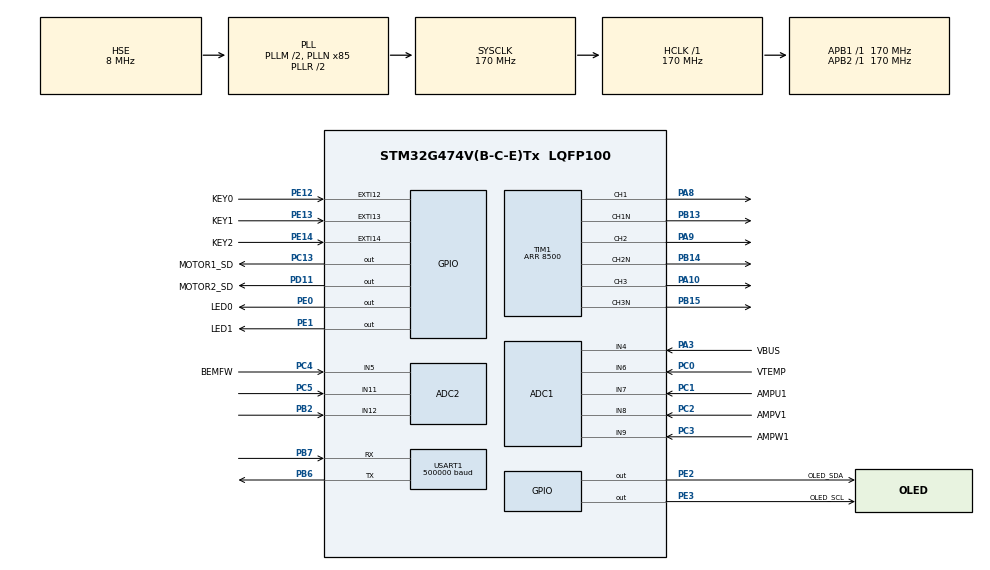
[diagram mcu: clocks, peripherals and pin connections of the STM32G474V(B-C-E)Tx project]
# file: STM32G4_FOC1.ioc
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ADC1.Channel-0\#ChannelRegularConversion=ADC_CHANNEL_6
ADC1.EnableAnalogWatchDog1=false
ADC1.EnableInjectedConversion=ENABLE
ADC1.EnableInjectedOversampling=DISABLE
ADC1.ExternalTrigInjecConv=ADC_EXTERNALTRIGINJEC_T1_CC4
ADC1.InjNumberOfConversion=4
ADC1.InjectedChannel-1\#ChannelInjectedConversion=ADC_CHANNEL_7
ADC1.InjectedChannel-3\#ChannelInjectedConversion=ADC_CHANNEL_8
ADC1.InjectedChannel-6\#ChannelInjectedConversion=ADC_CHANNEL_9
ADC1.InjectedChannel-7\#ChannelInjectedConversion=ADC_CHANNEL_4
ADC1.InjectedOffsetNumber-1\#ChannelInjectedConversion=ADC_OFFSET_NONE
ADC1.InjectedOffsetNumber-3\#ChannelInjectedConversion=ADC_OFFSET_NONE
ADC1.InjectedOffsetNumber-6\#ChannelInjectedConversion=ADC_OFFSET_NONE
ADC1.InjectedOffsetNumber-7\#ChannelInjectedConversion=ADC_OFFSET_NONE
ADC1.InjectedRank-1\#ChannelInjectedConversion=1
ADC1.InjectedRank-3\#ChannelInjectedConversion=2
ADC1.InjectedRank-6\#ChannelInjectedConversion=3
ADC1.InjectedRank-7\#ChannelInjectedConversion=4
ADC1.InjectedSamplingTime-1\#ChannelInjectedConversion=ADC_SAMPLETIME_2CYCLES_5
ADC1.InjectedSamplingTime-3\#ChannelInjectedConversion=ADC_SAMPLETIME_2CYCLES_5
ADC1.InjectedSamplingTime-6\#ChannelInjectedConversion=ADC_SAMPLETIME_2CYCLES_5
ADC1.InjectedSamplingTime-7\#ChannelInjectedConversion=ADC_SAMPLETIME_2CYCLES_5
ADC1.NbrOfConversion=1
ADC1.NbrOfConversionFlag=1
ADC1.OffsetNumber-0\#ChannelRegularConversion=ADC_OFFSET_NONE
ADC1.Rank-0\#ChannelRegularConversion=1
ADC1.Rank1_Channel=ADC_CHANNEL_7
ADC1.Rank2_Channel=ADC_CHANNEL_8
ADC1.Rank3_Channel=ADC_CHANNEL_9
ADC1.Rank4_Channel=ADC_CHANNEL_4
ADC1.SamplingTime-0\#ChannelRegularConversion=ADC_SAMPLETIME_24CYCLES_5
ADC1.injectedQueueMode=DISABLE
ADC1.master=1
ADC2.Channel-0\#ChannelRegularConversion=ADC_CHANNEL_5
ADC2.EnableInjectedConversion=DISABLE
ADC2.NbrOfConversionFlag=1
ADC2.OffsetNumber-0\#ChannelRegularConversion=ADC_OFFSET_NONE
ADC2.Rank-0\#ChannelRegularConversion=1
ADC2.SamplingTime-0\#ChannelRegularConversion=ADC_SAMPLETIME_2CYCLES_5
Dma.Request0=USART1_RX
Dma.USART1_RX.0.Direction=DMA_PERIPH_TO_MEMORY
Dma.USART1_RX.0.EventEnable=DISABLE
Dma.USART1_RX.0.Instance=DMA1_Channel5
Dma.USART1_RX.0.MemDataAlignment=DMA_MDATAALIGN_BYTE
Dma.USART1_RX.0.MemInc=DMA_MINC_ENABLE
Dma.USART1_RX.0.Mode=DMA_NORMAL
Dma.USART1_RX.0.PeriphDataAlignment=DMA_PDATAALIGN_BYTE
Dma.USART1_RX.0.PeriphInc=DMA_PINC_DISABLE
Dma.USART1_RX.0.Polarity=HAL_DMAMUX_REQ_GEN_RISING
Dma.USART1_RX.0.Priority=DMA_PRIORITY_LOW
Dma.USART1_RX.0.RequestNumber=1
Dma.USART1_RX.0.SignalID=NONE
Dma.USART1_RX.0.SyncEnable=DISABLE
Dma.USART1_RX.0.SyncPolarity=HAL_DMAMUX_SYNC_NO_EVENT
Dma.USART1_RX.0.SyncRequestNumber=1
Dma.USART1_RX.0.SyncSignalID=NONE
Mcu.Family=STM32G4
Mcu.Name=STM32G474V(B-C-E)Tx
Mcu.Package=LQFP100
NVIC.ADC1_2_IRQn=true\:0\:2\:true\:false\:true\:true\:true\:true
NVIC.DMA1_Channel5_IRQn=true\:0\:0\:false\:false\:true\:false\:true\:true
NVIC.EXTI15_10_IRQn=true\:3\:1\:true\:false\:true\:true\:true\:true
NVIC.PriorityGroup=NVIC_PRIORITYGROUP_2
NVIC.TIM6_DAC_IRQn=true\:3\:2\:true\:false\:true\:true\:true\:true
NVIC.USART1_IRQn=true\:0\:1\:true\:false\:true\:true\:true\:true
PA10.GPIO_Speed=GPIO_SPEED_FREQ_VERY_HIGH
PA10.Signal=S_TIM1_CH3
PA13.Mode=Serial_Wire
PA13.Signal=SYS_JTMS-SWDIO
PA14.Mode=Serial_Wire
PA14.Signal=SYS_JTCK-SWCLK
PA3.GPIO_Label=VBUS
PA3.Mode=IN4-Single-Ended
PA3.Signal=ADC1_IN4
PA8.GPIO_Speed=GPIO_SPEED_FREQ_VERY_HIGH
PA8.Signal=S_TIM1_CH1
PA9.GPIO_Speed=GPIO_SPEED_FREQ_VERY_HIGH
PA9.Signal=S_TIM1_CH2
PB13.GPIO_Speed=GPIO_SPEED_FREQ_VERY_HIGH
PB13.Mode=PWM Generation1 CH1 CH1N
PB13.Signal=TIM1_CH1N
PB14.GPIO_Speed=GPIO_SPEED_FREQ_VERY_HIGH
PB14.Mode=PWM Generation2 CH2 CH2N
PB14.Signal=TIM1_CH2N
PB15.GPIO_Speed=GPIO_SPEED_FREQ_VERY_HIGH
PB15.Mode=PWM Generation3 CH3 CH3N
PB15.Signal=TIM1_CH3N
PB2.Mode=IN11-Differential
PB2.Signal=ADC2_IN12
PB6.GPIO_Speed=GPIO_SPEED_FREQ_VERY_HIGH
PB6.Mode=Asynchronous
PB6.Signal=USART1_TX
PB7.GPIO_Speed=GPIO_SPEED_FREQ_VERY_HIGH
PB7.Mode=Asynchronous
PB7.Signal=USART1_RX
PC0.GPIO_Label=VTEMP
PC0.Mode=IN6-Single-Ended
PC0.Signal=ADC1_IN6
PC1.GPIO_Label=AMPU1
PC1.Mode=IN7-Single-Ended
PC1.Signal=ADC1_IN7
PC13.GPIO_Label=MOTOR1_SD
PC13.Signal=GPIO_Output
PC2.GPIO_Label=AMPV1
PC2.Mode=IN8-Single-Ended
PC2.Signal=ADC1_IN8
PC3.GPIO_Label=AMPW1
PC3.Mode=IN9-Single-Ended
PC3.Signal=ADC1_IN9
PC4.GPIO_Label=BEMFW
PC4.Mode=IN5-Single-Ended
PC4.Signal=ADC2_IN5
PC5.Mode=IN11-Differential
PC5.Signal=ADC2_IN11
PD11.GPIO_Label=MOTOR2_SD
PD11.GPIO_Speed=GPIO_SPEED_FREQ_VERY_HIGH
PD11.Signal=GPIO_Output
PE0.GPIO_Label=LED0
PE0.GPIO_ModeDefaultOutputPP=GPIO_MODE_OUTPUT_PP
PE0.GPIO_Speed=GPIO_SPEED_FREQ_VERY_HIGH
PE0.PinState=GPIO_PIN_SET
PE0.Signal=GPIO_Output
PE1.GPIO_Label=LED1
PE1.GPIO_Speed=GPIO_SPEED_FREQ_VERY_HIGH
PE1.PinState=GPIO_PIN_SET
PE1.Signal=GPIO_Output
PE12.GPIO_Label=KEY0
PE12.GPIO_ModeDefaultEXTI=GPIO_MODE_IT_FALLING
PE12.GPIO_PuPd=GPIO_PULLUP
PE12.Signal=GPXTI12
PE13.GPIO_Label=KEY1
PE13.GPIO_ModeDefaultEXTI=GPIO_MODE_IT_FALLING
PE13.GPIO_PuPd=GPIO_PULLUP
PE13.Signal=GPXTI13
PE14.GPIO_Label=KEY2
PE14.GPIO_ModeDefaultEXTI=GPIO_MODE_IT_FALLING
PE14.GPIO_PuPd=GPIO_PULLUP
PE14.Signal=GPXTI14
PE2.GPIO_Label=OLED_SDA
PE2.GPIO_ModeDefaultOutputPP=GPIO_MODE_OUTPUT_OD
PE2.GPIO_PuPd=GPIO_NOPULL
PE2.GPIO_Speed=GPIO_SPEED_FREQ_VERY_HIGH
PE2.Signal=GPIO_Output
PE3.GPIO_Label=OLED_SCL
PE3.GPIO_Speed=GPIO_SPEED_FREQ_VERY_HIGH
PE3.Signal=GPIO_Output
PF0-OSC_IN.Mode=HSE-External-Oscillator
PF0-OSC_IN.Signal=RCC_OSC_IN
PF1-OSC_OUT.Mode=HSE-External-Oscillator
PF1-OSC_OUT.Signal=RCC_OSC_OUT
ProjectManager.HeapSize=0x200
ProjectManager.StackSize=0x400
ProjectManager.TargetToolchain=MDK-ARM V5.32
RCC.ADC12Freq_Value=170000000
RCC.ADC345Freq_Value=170000000
RCC.AHBFreq_Value=170000000
RCC.APB1Freq_Value=170000000
RCC.APB1TimFreq_Value=170000000
RCC.APB2Freq_Value=170000000
RCC.APB2TimFreq_Value=170000000
RCC.CortexFreq_Value=170000000
RCC.EXTERNAL_CLOCK_VALUE=12288000
RCC.HCLKFreq_Value=170000000
RCC.HSE_VALUE=8000000
RCC.HSI48_VALUE=48000000
RCC.HSI_VALUE=16000000
RCC.LSE_VALUE=32768
RCC.PLLM=RCC_PLLM_DIV2
RCC.PLLN=85
RCC.PLLSourceVirtual=RCC_PLLSOURCE_HSE
RCC.SYSCLKFreq_VALUE=170000000
RCC.SYSCLKSource=RCC_SYSCLKSOURCE_PLLCLK
RCC.USBFreq_Value=170000000
RCC.VCOOutputFreq_Value=340000000
SH.S_TIM1_CH1.0=TIM1_CH1,PWM Generation1 CH1 CH1N
SH.S_TIM1_CH2.0=TIM1_CH2,PWM Generation2 CH2 CH2N
SH.S_TIM1_CH3.0=TIM1_CH3,PWM Generation3 CH3 CH3N
TIM1.AsymmetricalDeadTime=DISABLE
TIM1.AutoReloadPreload=TIM_AUTORELOAD_PRELOAD_ENABLE
TIM1.Channel-PWM\ Generation1\ CH1\ CH1N=TIM_CHANNEL_1
TIM1.Channel-PWM\ Generation2\ CH2\ CH2N=TIM_CHANNEL_2
TIM1.Channel-PWM\ Generation3\ CH3\ CH3N=TIM_CHANNEL_3
TIM1.Channel-PWM\ Generation4\ No\ Output=TIM_CHANNEL_4
TIM1.ClockDivision=TIM_CLOCKDIVISION_DIV2
TIM1.CounterMode=TIM_COUNTERMODE_CENTERALIGNED1
TIM1.DeadTime=120
TIM1.Dithering=Disable
TIM1.OC1Preload_PWM=DISABLE
TIM1.OC2Preload_PWM=DISABLE
TIM1.OC3Preload_PWM=DISABLE
TIM1.OC4Preload_PWM=ENABLE
TIM1.OCMode_PWM-PWM\ Generation4\ No\ Output=TIM_OCMODE_PWM1
TIM1.PeriodNoDither=8500
TIM1.PulseNoDither_4=8500-50
TIM1.RepetitionCounter=1
TIM1.TIM_MasterOutputTrigger=TIM_TRGO_OC4REF
TIM6.AutoReloadPreload=TIM_AUTORELOAD_PRELOAD_ENABLE
TIM6.PeriodNoDither=4250
TIM6.Prescaler=5-1
USART1.BaudRate=500000
USART1.VirtualMode-Asynchronous=VM_ASYNC
VP_SYS_VS_DBSignals.Mode=DisableDeadBatterySignals
VP_TIM1_VS_ClockSourceINT.Mode=Internal
VP_TIM1_VS_no_output4.Mode=PWM Generation4 No Output
VP_TIM6_VS_ClockSourceINT.Mode=Enable_Timer
board=custom

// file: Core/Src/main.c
/* USER CODE BEGIN Header */
/**
  ******************************************************************************
  * @file           : main.c
  * @brief          : Main program body
  ******************************************************************************
  * @attention
  *
  * Copyright (c) 2025 STMicroelectronics.
  * All rights reserved.
  *
  * This software is licensed under terms that can be found in the LICENSE file
  * in the root directory of this software component.
  * If no LICENSE file comes with this software, it is provided AS-IS.
  *
  ******************************************************************************
  */
/* USER CODE END Header */
#include "main.h"
#include "adc.h"
#include "dma.h"
#include "tim.h"
#include "usart.h"
#include "gpio.h"

/* USER CODE BEGIN PTD */
/**********************************

   tim1 互补PWM输出控制
	 ADC1采集  注入通道）电流 母线电压

		SVPWM控制

		电流环 闭环

中断优先级分配表    抢占优先级   子优先级
通信USART2                0         2
-----------------------
按键控制0                 3         1
按键控制1                 3         1
按键控制2                 3         1

-----------------------
ADC中断函数               0         1
-----------------------
TIME2编码器捕获中断       2         1
------------------------
TIME6低速任务             3         3
-----------------------
//功能按键
	   0 -- KEY0
	   1 -- KEY1
		 2 -- KEY2 启动 停止

 //电机参数：
    霍尔安装角度：120
		额定扭矩 ： 0.2 (N*M)
		极对数 ：8
		相数   ：3
		反电动势：4.3V
    Rs = 1.02R
		Ls = 0.59mH
		flux = 0.034182

*/
/* USER CODE END PTD */

void SystemClock_Config(void);

int main(void)
{
  /* USER CODE BEGIN 1 */
//   int date;
//	 uint8_t oled_buf[20];
  /* USER CODE END 1 */

  /* MCU Configuration--------------------------------------------------------*/

  /* Reset of all peripherals, Initializes the Flash interface and the Systick. */
  HAL_Init();

  /* Configure the system clock */
  SystemClock_Config();

  /* USER CODE BEGIN SysInit */
   sys_stm32_clock_init(85, 2, 2, 4, 8);       /* 设置时钟,170Mhz */
   delay_init(170);                            /* 延时初始化 */

  /* USER CODE END SysInit */

  /* Initialize all configured peripherals */
  MX_GPIO_Init();
  MX_DMA_Init();
  MX_TIM1_Init();
  MX_USART1_UART_Init();
  MX_ADC1_Init();
  MX_ADC2_Init();
  MX_TIM6_Init();
  /* USER CODE BEGIN 2 */

	//0.96寸OLED屏幕
	 I2C_Configuration();
	 OLED_Init();
	 OLED_CLS();//清屏
//	 headline();
  /* USER CODE END 2 */

  /* Infinite loop */
  /* USER CODE BEGIN WHILE */
	HAL_TIM_PWM_Start(&htim1,TIM_CHANNEL_1);
	HAL_TIM_PWM_Start(&htim1,TIM_CHANNEL_2);
	HAL_TIM_PWM_Start(&htim1,TIM_CHANNEL_3);
	HAL_TIM_PWM_Start(&htim1,TIM_CHANNEL_4);

	HAL_TIMEx_PWMN_Start(&htim1,TIM_CHANNEL_1);
	HAL_TIMEx_PWMN_Start(&htim1,TIM_CHANNEL_2);
	HAL_TIMEx_PWMN_Start(&htim1,TIM_CHANNEL_3);

	//开启ADC转换
    HAL_ADC_Start_IT(&hadc1);
		HAL_ADC_Start(&hadc1);
		//ADC校准
		HAL_ADCEx_Calibration_Start(&hadc1,ADC_SINGLE_ENDED);
		 // 启动ADC注入通道转换
    HAL_ADCEx_InjectedStart_IT(&hadc1);
    // 启动定时器6并使能中断
    HAL_TIM_Base_Start_IT(&htim6);
		//开启ADC偏置电压采集校准
    get_offset_flag=1;
		 // 重新启动 DMA 接收（循环模式可能无需，但非循环模式需重新启动）
	    HAL_UARTEx_ReceiveToIdle_DMA(&huart1,g_rx_buffer, USART_REC_LEN);
  while (1)
  {

	   LED0_TOGGLE();
		delay_ms(1000);
    /* USER CODE END WHILE */

  }
}

void SystemClock_Config(void)
{
  RCC_OscInitTypeDef RCC_OscInitStruct = {0};
  RCC_ClkInitTypeDef RCC_ClkInitStruct = {0};

  /** Configure the main internal regulator output voltage
  */
  HAL_PWREx_ControlVoltageScaling(PWR_REGULATOR_VOLTAGE_SCALE1_BOOST);

  /** Initializes the RCC Oscillators according to the specified parameters
  * in the RCC_OscInitTypeDef structure.
  */
  RCC_OscInitStruct.OscillatorType = RCC_OSCILLATORTYPE_HSE;
  RCC_OscInitStruct.HSEState = RCC_HSE_ON;
  RCC_OscInitStruct.PLL.PLLState = RCC_PLL_ON;
  RCC_OscInitStruct.PLL.PLLSource = RCC_PLLSOURCE_HSE;
  RCC_OscInitStruct.PLL.PLLM = RCC_PLLM_DIV2;
  RCC_OscInitStruct.PLL.PLLN = 85;
  RCC_OscInitStruct.PLL.PLLP = RCC_PLLP_DIV2;
  RCC_OscInitStruct.PLL.PLLQ = RCC_PLLQ_DIV2;
  RCC_OscInitStruct.PLL.PLLR = RCC_PLLR_DIV2;
  if (HAL_RCC_OscConfig(&RCC_OscInitStruct) != HAL_OK)
  {
    Error_Handler();
  }

  /** Initializes the CPU, AHB and APB buses clocks
  */
  RCC_ClkInitStruct.ClockType = RCC_CLOCKTYPE_HCLK|RCC_CLOCKTYPE_SYSCLK
                              |RCC_CLOCKTYPE_PCLK1|RCC_CLOCKTYPE_PCLK2;
  RCC_ClkInitStruct.SYSCLKSource = RCC_SYSCLKSOURCE_PLLCLK;
  RCC_ClkInitStruct.AHBCLKDivider = RCC_SYSCLK_DIV1;
  RCC_ClkInitStruct.APB1CLKDivider = RCC_HCLK_DIV1;
  RCC_ClkInitStruct.APB2CLKDivider = RCC_HCLK_DIV1;

  if (HAL_RCC_ClockConfig(&RCC_ClkInitStruct, FLASH_LATENCY_4) != HAL_OK)
  {
    Error_Handler();
  }
}

void Error_Handler(void)
{
  __disable_irq();
  while (1)
  {
  }
}
